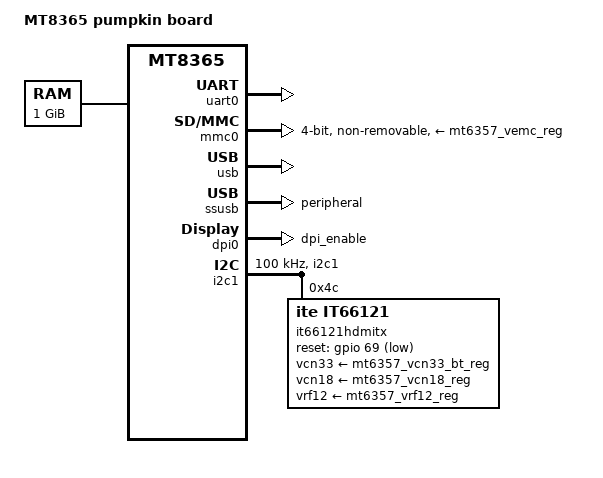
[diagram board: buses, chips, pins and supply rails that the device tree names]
// SPDX-License-Identifier: GPL-2.0 OR MIT
/*
 * Copyright (C) 2021 BayLibre SAS.
 * Author: Fabien Parent <fparent@baylibre.com>
 */

/dts-v1/;

#include <config.h>
#include "mt8365.dtsi"
#include "mt6357.dtsi"

/ {
	model = "MT8365 pumpkin board";
	compatible = "mediatek,mt8365-pumpkin", "mediatek,mt8365";

	memory@40000000 {
		device_type = "memory";
		reg = <0 0x40000000 0 0x40000000>;
	};

	firmware: firmware {
		optee {
			compatible = "linaro,optee-tz";
			method = "smc";
		};
	};

	reserved-memory {
		#address-cells = <2>;
		#size-cells = <2>;
		ranges;

		/* 192 KiB reserved for ARM Trusted Firmware (BL31) */
		bl31_secmon_reserved: secmon@43000000 {
			no-map;
			reg = <0 0x43000000 0 0x30000>;
		};

		/* 12 MiB reserved for OP-TEE (BL32)
		 * +-----------------------+ 0x43e0_0000
		 * |      SHMEM 2MiB       |
		 * +-----------------------+ 0x43c0_0000
		 * |        | TA_RAM  8MiB |
		 * + TZDRAM +--------------+ 0x4340_0000
		 * |        | TEE_RAM 2MiB |
		 * +-----------------------+ 0x4320_0000
		 */
		optee_reserved: optee@43200000 {
			no-map;
			reg = <0 0x43200000 0 0x00c00000>;
		};
	};

	chosen {
		stdout-path = &uart0;
	};
};

&uart0 {
	status = "okay";
};

&mmc0 {
	bus-width = <4>;
	max-frequency = <200000000>;
	cap-mmc-highspeed;
	mmc-hs200-1_8v;
	cap-mmc-hw-reset;
	vmmc-supply = <&mt6357_vemc_reg>;
	vqmmc-supply = <&mt6357_vio18_reg>;
	non-removable;
	status = "okay";
};

&usb {
	status = "okay";
};

&ssusb {
	mediatek,force-vbus;
	maximum-speed = "high-speed";
	dr_mode = "peripheral";
	status = "okay";
};

&dpi0 {
	dpi_dual_edge;
	pinctrl-names = "default", "sleep";
	pinctrl-0 = <&dpi_pin_func>;
	pinctrl-1 = <&dpi_pin_gpio>;
	status = "okay";
};

&i2c1 {
	pinctrl-names = "default";
	pinctrl-0 = <&i2c1_pins_default>;
	clock-frequency = <100000>;
	status = "okay";

	it66121hdmitx {
		compatible = "ite,it66121";
		reg = <0x4c>;
		pinctrl-names = "default";
		pinctrl-0 = <&ite_pins_default>;
		vcn33-supply = <&mt6357_vcn33_bt_reg>;
		vcn18-supply = <&mt6357_vcn18_reg>;
		vrf12-supply = <&mt6357_vrf12_reg>;
		reset-gpios = <&gpio 69 GPIO_ACTIVE_LOW>;
	};
};

&pio {
	dpi_pin_func: dpi_pin_func {
		function = "dpi";
		groups =  "dpi_enable";
	};

	dpi_pin_gpio: dpi_pin_gpio {
		function = "dpi";
		groups =  "dpi_sleep";
	};

	i2c1_pins_default: i2c1_pins_default {
		function = "i2c";
		groups = "i2c1";
	};

	ite_pins_default: ite_pins_default {
		pins_rst_ite {
			pinmux = <MT8365_PIN_69_CMDAT1__FUNC_GPIO69>;
			output-high;
		};

		pins_irq_ite {
			pinmux = <MT8365_PIN_68_CMDAT0__FUNC_GPIO68>;
			input-enable;
		};
	};
};
